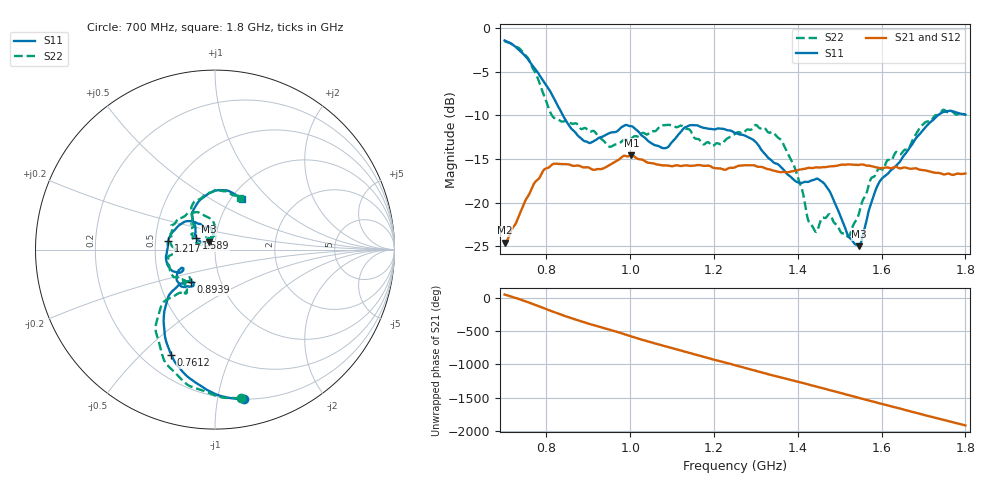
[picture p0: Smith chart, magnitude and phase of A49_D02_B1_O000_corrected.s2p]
! Created with skrf 1.9.0 (http://scikit-rf.org).
# Hz S RI R 50.0
!freq ReS11 ImS11 ReS21 ImS21 ReS12 ImS12 ReS22 ImS22
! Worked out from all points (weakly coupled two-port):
!   1601 points, 700 MHz to 1.8 GHz, reference 50 ohm
!   highest |S21| = -14.59 dB at 1.002 GHz (marker M1); lowest = -24.6 dB at 700.7 MHz (marker M2)
!   lowest |S11| = -25.0 dB at 1.546 GHz (marker M3), VSWR 1.12, Z = 46.5 + j4.14 ohm
!   |S11| at or under -10 dB: 839.3 MHz to 1.734 GHz (894.7 MHz wide, 69.5 % of centre)
!   |S22| runs from -23.9 to -1.5 dB; largest |S21 - S12| = 0.0035
!   S11 on the Smith chart (normalised r, x): 700 MHz: 0.20, -1.19; 761.2 MHz: 0.32, -0.62; 893.9 MHz: 0.72, -0.27; 1.217 GHz: 0.58, +0.06; 1.589 GHz: 0.80, +0.11; 1.8 GHz: 1.13, +0.70
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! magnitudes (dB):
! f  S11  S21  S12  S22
! 700 MHz  -1.4  -24.6  -24.4  -1.5
! 700.7 MHz  -1.4  -24.6  -24.3  -1.5
! 761.2 MHz  -3.9  -18.8  -18.7  -3.9
! 814.8 MHz  -7.8  -15.6  -15.7  -10.1
! 883.6 MHz  -12.7  -15.9  -15.8  -11.6
! 893.9 MHz  -13.0  -16.0  -16.0  -11.5
! 950.9 MHz  -12.0  -15.7  -15.7  -13.6
! 1.002 GHz  -11.2  -14.6  -14.7  -12.7
! 1.067 GHz  -13.5  -15.7  -15.6  -11.4
! 1.141 GHz  -11.1  -15.8  -15.7  -11.6
! 1.217 GHz  -11.5  -16.1  -16.1  -13.3
! 1.25 GHz  -12.0  -16.0  -15.9  -12.1
! 1.3 GHz  -13.1  -15.8  -15.8  -11.1
! 1.359 GHz  -15.9  -16.5  -16.5  -12.8
! 1.434 GHz  -17.4  -16.0  -16.0  -22.6
! 1.471 GHz  -18.4  -15.9  -15.9  -21.5
! 1.52 GHz  -23.8  -15.6  -15.6  -23.9
! 1.546 GHz  -25.0  -15.7  -15.6  -21.2
! 1.589 GHz  -18.2  -16.0  -16.0  -16.4
! 1.617 GHz  -16.6  -16.0  -16.0  -15.1
! 1.737 GHz  -9.9  -16.6  -16.7  -9.9
! 1.8 GHz  -9.9  -16.7  -16.7  -9.9
